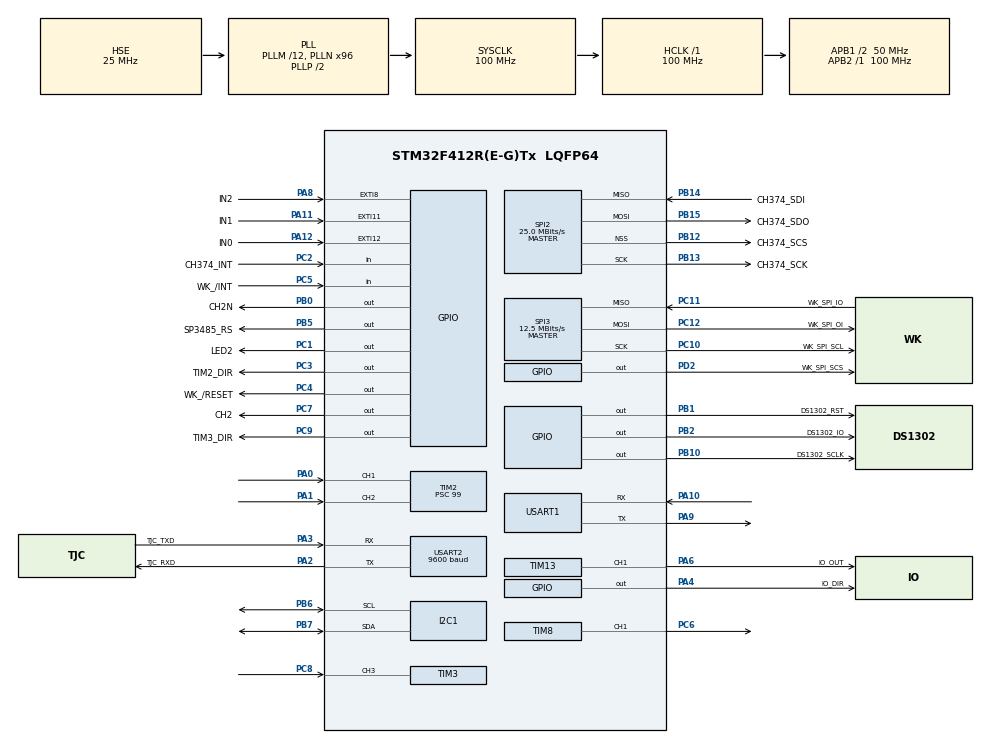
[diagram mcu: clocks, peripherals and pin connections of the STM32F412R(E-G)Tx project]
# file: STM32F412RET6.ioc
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Dma.Request0=USART2_RX
Dma.Request1=USART2_TX
Dma.Request2=USART1_RX
Dma.Request3=USART1_TX
Dma.USART1_RX.2.Direction=DMA_PERIPH_TO_MEMORY
Dma.USART1_RX.2.FIFOMode=DMA_FIFOMODE_DISABLE
Dma.USART1_RX.2.Instance=DMA2_Stream2
Dma.USART1_RX.2.MemDataAlignment=DMA_MDATAALIGN_BYTE
Dma.USART1_RX.2.MemInc=DMA_MINC_ENABLE
Dma.USART1_RX.2.Mode=DMA_NORMAL
Dma.USART1_RX.2.PeriphDataAlignment=DMA_PDATAALIGN_BYTE
Dma.USART1_RX.2.PeriphInc=DMA_PINC_DISABLE
Dma.USART1_RX.2.Priority=DMA_PRIORITY_LOW
Dma.USART1_TX.3.Direction=DMA_MEMORY_TO_PERIPH
Dma.USART1_TX.3.FIFOMode=DMA_FIFOMODE_DISABLE
Dma.USART1_TX.3.Instance=DMA2_Stream7
Dma.USART1_TX.3.MemDataAlignment=DMA_MDATAALIGN_BYTE
Dma.USART1_TX.3.MemInc=DMA_MINC_ENABLE
Dma.USART1_TX.3.Mode=DMA_NORMAL
Dma.USART1_TX.3.PeriphDataAlignment=DMA_PDATAALIGN_BYTE
Dma.USART1_TX.3.PeriphInc=DMA_PINC_DISABLE
Dma.USART1_TX.3.Priority=DMA_PRIORITY_LOW
Dma.USART2_RX.0.Direction=DMA_PERIPH_TO_MEMORY
Dma.USART2_RX.0.FIFOMode=DMA_FIFOMODE_DISABLE
Dma.USART2_RX.0.Instance=DMA1_Stream5
Dma.USART2_RX.0.MemDataAlignment=DMA_MDATAALIGN_BYTE
Dma.USART2_RX.0.MemInc=DMA_MINC_ENABLE
Dma.USART2_RX.0.Mode=DMA_NORMAL
Dma.USART2_RX.0.PeriphDataAlignment=DMA_PDATAALIGN_BYTE
Dma.USART2_RX.0.PeriphInc=DMA_PINC_DISABLE
Dma.USART2_RX.0.Priority=DMA_PRIORITY_LOW
Dma.USART2_TX.1.Direction=DMA_MEMORY_TO_PERIPH
Dma.USART2_TX.1.FIFOMode=DMA_FIFOMODE_DISABLE
Dma.USART2_TX.1.Instance=DMA1_Stream6
Dma.USART2_TX.1.MemDataAlignment=DMA_MDATAALIGN_BYTE
Dma.USART2_TX.1.MemInc=DMA_MINC_ENABLE
Dma.USART2_TX.1.Mode=DMA_NORMAL
Dma.USART2_TX.1.PeriphDataAlignment=DMA_PDATAALIGN_BYTE
Dma.USART2_TX.1.PeriphInc=DMA_PINC_DISABLE
Dma.USART2_TX.1.Priority=DMA_PRIORITY_LOW
FREERTOS.Queues01=myQueue01,5,uint8_t,0,Dynamic,NULL,NULL
FREERTOS.Tasks01=defaultTask,24,128,StartDefaultTask,Default,NULL,Dynamic,NULL,NULL;myTask01,8,128,StartTask01,Default,NULL,Dynamic,NULL,NULL
FREERTOS.configMAX_TASK_NAME_LEN=32
I2C1.I2C_Mode=I2C_Fast
Mcu.Family=STM32F4
Mcu.Name=STM32F412R(E-G)Tx
Mcu.Package=LQFP64
NVIC.DMA1_Stream5_IRQn=true\:5\:0\:false\:false\:true\:true\:false\:true\:true
NVIC.DMA1_Stream6_IRQn=true\:5\:0\:false\:false\:true\:true\:false\:true\:true
NVIC.DMA2_Stream2_IRQn=true\:5\:0\:false\:false\:true\:true\:false\:true\:true
NVIC.DMA2_Stream7_IRQn=true\:5\:0\:false\:false\:true\:true\:false\:true\:true
NVIC.EXTI15_10_IRQn=true\:5\:0\:false\:false\:true\:true\:true\:true\:true
NVIC.EXTI9_5_IRQn=true\:5\:0\:false\:false\:true\:true\:true\:true\:true
NVIC.I2C1_ER_IRQn=true\:5\:0\:false\:false\:true\:true\:true\:true\:true
NVIC.I2C1_EV_IRQn=true\:5\:0\:false\:false\:true\:true\:true\:true\:true
NVIC.PriorityGroup=NVIC_PRIORITYGROUP_4
NVIC.SPI3_IRQn=true\:5\:0\:false\:false\:true\:true\:true\:true\:true
NVIC.TIM1_UP_TIM10_IRQn=true\:15\:0\:false\:false\:true\:false\:false\:true\:true
NVIC.TIM2_IRQn=true\:5\:0\:true\:false\:true\:true\:true\:true\:true
NVIC.TIM3_IRQn=true\:6\:0\:true\:false\:true\:true\:true\:true\:true
NVIC.TIM8_BRK_TIM12_IRQn=true\:5\:0\:false\:false\:true\:true\:true\:true\:true
NVIC.TIM8_CC_IRQn=true\:5\:0\:false\:false\:true\:true\:true\:true\:true
NVIC.TIM8_TRG_COM_TIM14_IRQn=true\:5\:0\:false\:false\:true\:true\:true\:true\:true
NVIC.TIM8_UP_TIM13_IRQn=true\:5\:0\:false\:false\:true\:true\:true\:true\:true
NVIC.TimeBase=TIM1_UP_TIM10_IRQn
NVIC.TimeBaseIP=TIM1
NVIC.USART1_IRQn=true\:5\:0\:false\:false\:true\:true\:true\:true\:true
NVIC.USART2_IRQn=true\:5\:0\:false\:false\:true\:true\:true\:true\:true
PA0.GPIO_PuPd=GPIO_PULLUP
PA0.Signal=S_TIM2_CH1_ETR
PA1.GPIO_PuPd=GPIO_PULLUP
PA1.Signal=S_TIM2_CH2
PA10.Mode=Asynchronous
PA10.Signal=USART1_RX
PA11.GPIO_Label=IN1
PA11.Signal=GPXTI11
PA12.GPIO_Label=IN0
PA12.Signal=GPXTI12
PA13.GPIO_Label=TMS
PA13.Mode=JTAG_5_pins
PA13.Signal=SYS_JTMS-SWDIO
PA14.GPIO_Label=TCK
PA14.Mode=JTAG_5_pins
PA14.Signal=SYS_JTCK-SWCLK
PA15.GPIO_Label=TDI
PA15.Mode=JTAG_5_pins
PA15.Signal=SYS_JTDI
PA2.GPIO_Label=TJC_RXD
PA2.Mode=Asynchronous
PA2.Signal=USART2_TX
PA3.GPIO_Label=TJC_TXD
PA3.Mode=Asynchronous
PA3.Signal=USART2_RX
PA4.GPIO_Label=IO_DIR
PA4.Signal=GPIO_Output
PA6.GPIO_Label=IO_OUT
PA6.GPIO_PuPd=GPIO_NOPULL
PA6.Signal=S_TIM13_CH1
PA8.GPIO_Label=IN2
PA8.GPIO_ModeDefaultEXTI=GPIO_MODE_IT_RISING
PA8.Signal=GPXTI8
PA9.Mode=Asynchronous
PA9.Signal=USART1_TX
PB0.GPIO_Label=CH2N
PB0.Signal=GPIO_Output
PB1.GPIO_Label=DS1302_RST
PB1.Signal=GPIO_Output
PB10.GPIO_Label=DS1302_SCLK
PB10.GPIO_PuPd=GPIO_PULLUP
PB10.Signal=GPIO_Output
PB12.GPIO_Label=CH374_SCS
PB12.Mode=NSS_Signal_Hard_Output
PB12.Signal=SPI2_NSS
PB13.GPIO_Label=CH374_SCK
PB13.Mode=Full_Duplex_Master
PB13.Signal=SPI2_SCK
PB14.GPIO_Label=CH374_SDI
PB14.Mode=Full_Duplex_Master
PB14.Signal=SPI2_MISO
PB15.GPIO_Label=CH374_SDO
PB15.Mode=Full_Duplex_Master
PB15.Signal=SPI2_MOSI
PB2.GPIO_Label=DS1302_IO
PB2.Signal=GPIO_Output
PB3.GPIO_Label=TDO
PB3.Mode=JTAG_5_pins
PB3.Signal=SYS_JTDO-SWO
PB4.GPIO_Label=NTRST
PB4.Mode=JTAG_5_pins
PB4.Signal=SYS_JTRST
PB5.GPIO_Label=SP3485_RS
PB5.Signal=GPIO_Output
PB6.Mode=I2C
PB6.Signal=I2C1_SCL
PB7.Mode=I2C
PB7.Signal=I2C1_SDA
PC1.GPIO_Label=LED2
PC1.GPIO_PuPd=GPIO_PULLUP
PC1.Signal=GPIO_Output
PC10.GPIO_Label=WK_SPI_SCL
PC10.Mode=Full_Duplex_Master
PC10.Signal=SPI3_SCK
PC11.GPIO_Label=WK_SPI_IO
PC11.Mode=Full_Duplex_Master
PC11.Signal=SPI3_MISO
PC12.GPIO_Label=WK_SPI_OI
PC12.Mode=Full_Duplex_Master
PC12.Signal=SPI3_MOSI
PC2.GPIO_Label=CH374_INT
PC2.Signal=GPIO_Input
PC3.GPIO_Label=TIM2_DIR
PC3.Signal=GPIO_Output
PC4.GPIO_Label=WK_/RESET
PC4.Signal=GPIO_Output
PC5.GPIO_Label=WK_/INT
PC5.Signal=GPIO_Input
PC6.Signal=S_TIM8_CH1
PC7.GPIO_Label=CH2
PC7.Signal=GPIO_Output
PC8.Signal=S_TIM3_CH3
PC9.GPIO_Label=TIM3_DIR
PC9.Signal=GPIO_Output
PD2.GPIO_Label=WK_SPI_SCS
PD2.GPIO_PuPd=GPIO_PULLUP
PD2.Signal=GPIO_Output
PH0\ -\ OSC_IN.Mode=HSE-External-Oscillator
PH0\ -\ OSC_IN.Signal=RCC_OSC_IN
PH1\ -\ OSC_OUT.Mode=HSE-External-Oscillator
PH1\ -\ OSC_OUT.Signal=RCC_OSC_OUT
ProjectManager.HeapSize=0x200
ProjectManager.StackSize=0x400
ProjectManager.TargetToolchain=MDK-ARM V5.32
RCC.AHBFreq_Value=100000000
RCC.APB1CLKDivider=RCC_HCLK_DIV2
RCC.APB1Freq_Value=50000000
RCC.APB1TimFreq_Value=100000000
RCC.APB2Freq_Value=100000000
RCC.APB2TimFreq_Value=100000000
RCC.CortexFreq_Value=100000000
RCC.HCLKFreq_Value=100000000
RCC.PLLM=12
RCC.PLLN=96
RCC.PLLSourceVirtual=RCC_PLLSOURCE_HSE
RCC.SYSCLKFreq_VALUE=100000000
RCC.SYSCLKSource=RCC_SYSCLKSOURCE_PLLCLK
RCC.USBFreq_Value=100000000
RCC.VCOOutputFreq_Value=200000000
SH.S_TIM13_CH1.0=TIM13_CH1,PWM Generation1 CH1
SH.S_TIM2_CH1_ETR.0=TIM2_CH1,Encoder_Interface
SH.S_TIM2_CH2.0=TIM2_CH2,Encoder_Interface
SH.S_TIM3_CH3.0=TIM3_CH3,Input_Capture3_from_TI3
SH.S_TIM8_CH1.0=TIM8_CH1,PWM Generation1 CH1
SPI2.CalculateBaudRate=25.0 MBits/s
SPI2.Direction=SPI_DIRECTION_2LINES
SPI2.Mode=SPI_MODE_MASTER
SPI2.VirtualNSS=VM_NSSHARD
SPI2.VirtualType=VM_MASTER
SPI3.BaudRatePrescaler=SPI_BAUDRATEPRESCALER_4
SPI3.CLKPhase=SPI_PHASE_2EDGE
SPI3.CLKPolarity=SPI_POLARITY_HIGH
SPI3.CalculateBaudRate=12.5 MBits/s
SPI3.Direction=SPI_DIRECTION_2LINES
SPI3.Mode=SPI_MODE_MASTER
SPI3.VirtualType=VM_MASTER
TIM13.AutoReloadPreload=TIM_AUTORELOAD_PRELOAD_DISABLE
TIM13.Channel=TIM_CHANNEL_1
TIM13.Period=1000-1
TIM13.Prescaler=100-1
TIM13.Pulse=500
TIM2.EncoderMode=TIM_ENCODERMODE_TI12
TIM2.IC1Filter=6
TIM2.IC2Filter=6
TIM2.Period=20000-1
TIM2.Prescaler=99
TIM3.AutoReloadPreload=TIM_AUTORELOAD_PRELOAD_ENABLE
TIM3.Channel-Input_Capture3_from_TI3=TIM_CHANNEL_3
TIM3.Period=20000-1
TIM3.Prescaler=999
TIM8.AutoReloadPreload=TIM_AUTORELOAD_PRELOAD_DISABLE
TIM8.Channel-PWM\ Generation1\ CH1=TIM_CHANNEL_1
TIM8.Period=1000
TIM8.Prescaler=100-1
TIM8.Pulse-PWM\ Generation1\ CH1=500
USART1.VirtualMode=VM_ASYNC
USART2.BaudRate=9600
USART2.VirtualMode=VM_ASYNC
VP_FREERTOS_VS_CMSIS_V2.Mode=CMSIS_V2
VP_SYS_VS_tim1.Mode=TIM1
VP_TIM13_VS_ClockSourceINT.Mode=Enable_Timer
VP_TIM3_VS_ClockSourceINT.Mode=Internal
board=custom

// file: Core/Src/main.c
/* USER CODE BEGIN Header */
/**
  ******************************************************************************
  * @file           : main.c
  * @brief          : Main program body
  ******************************************************************************
  * @attention
  *
  * Copyright (c) 2024 STMicroelectronics.
  * All rights reserved.
  *
  * This software is licensed under terms that can be found in the LICENSE file
  * in the root directory of this software component.
  * If no LICENSE file comes with this software, it is provided AS-IS.
  *
  ******************************************************************************
  */
/* USER CODE END Header */
#include "main.h"
#include "cmsis_os.h"
#include "dma.h"
#include "i2c.h"
#include "spi.h"
#include "tim.h"
#include "usart.h"
#include "gpio.h"

void SystemClock_Config(void);
void MX_FREERTOS_Init(void);

int main(void)
{

  /* MCU Configuration--------------------------------------------------------*/

  /* Reset of all peripherals, Initializes the Flash interface and the Systick. */
  HAL_Init();

  /* Configure the system clock */
  SystemClock_Config();

  /* Initialize all configured peripherals */
  MX_GPIO_Init();
  MX_DMA_Init();
  MX_TIM2_Init();
  MX_USART2_UART_Init();
  MX_USART1_UART_Init();
  MX_I2C1_Init();
  MX_SPI2_Init();
  MX_SPI3_Init();
  MX_TIM3_Init();
  MX_TIM8_Init();
  MX_TIM13_Init();

  /* Init scheduler */
  osKernelInitialize();  /* Call init function for freertos objects (in freertos.c) */
  MX_FREERTOS_Init();

  /* Start scheduler */
  osKernelStart();

  /* We should never get here as control is now taken by the scheduler */
  /* Infinite loop */
  while (1)
  {

  }
}

void SystemClock_Config(void)
{
  RCC_OscInitTypeDef RCC_OscInitStruct = {0};
  RCC_ClkInitTypeDef RCC_ClkInitStruct = {0};

  /** Configure the main internal regulator output voltage
  */
  __HAL_RCC_PWR_CLK_ENABLE();
  __HAL_PWR_VOLTAGESCALING_CONFIG(PWR_REGULATOR_VOLTAGE_SCALE1);

  /** Initializes the RCC Oscillators according to the specified parameters
  * in the RCC_OscInitTypeDef structure.
  */
  RCC_OscInitStruct.OscillatorType = RCC_OSCILLATORTYPE_HSE;
  RCC_OscInitStruct.HSEState = RCC_HSE_ON;
  RCC_OscInitStruct.PLL.PLLState = RCC_PLL_ON;
  RCC_OscInitStruct.PLL.PLLSource = RCC_PLLSOURCE_HSE;
  RCC_OscInitStruct.PLL.PLLM = 12;
  RCC_OscInitStruct.PLL.PLLN = 96;
  RCC_OscInitStruct.PLL.PLLP = RCC_PLLP_DIV2;
  RCC_OscInitStruct.PLL.PLLQ = 2;
  RCC_OscInitStruct.PLL.PLLR = 2;
  if (HAL_RCC_OscConfig(&RCC_OscInitStruct) != HAL_OK)
  {
    Error_Handler();
  }

  /** Initializes the CPU, AHB and APB buses clocks
  */
  RCC_ClkInitStruct.ClockType = RCC_CLOCKTYPE_HCLK|RCC_CLOCKTYPE_SYSCLK
                              |RCC_CLOCKTYPE_PCLK1|RCC_CLOCKTYPE_PCLK2;
  RCC_ClkInitStruct.SYSCLKSource = RCC_SYSCLKSOURCE_PLLCLK;
  RCC_ClkInitStruct.AHBCLKDivider = RCC_SYSCLK_DIV1;
  RCC_ClkInitStruct.APB1CLKDivider = RCC_HCLK_DIV2;
  RCC_ClkInitStruct.APB2CLKDivider = RCC_HCLK_DIV1;

  if (HAL_RCC_ClockConfig(&RCC_ClkInitStruct, FLASH_LATENCY_3) != HAL_OK)
  {
    Error_Handler();
  }
}

/* USER CODE BEGIN 4 */
void HAL_GPIO_EXTI_Callback(uint16_t GPIO_Pin)//GPIO中断回调函数
{
	if(GPIO_Pin==IN0_Pin)
	{
		Position=0.0;
	__HAL_TIM_SET_COUNTER(&htim2, 10000);//校验位置
	__HAL_GPIO_EXTI_CLEAR_IT(IN0_Pin);//清除中断标志位
	}
	else if(GPIO_Pin==IN1_Pin)
	{
		Position=Track_Length/2;
	__HAL_TIM_SET_COUNTER(&htim2, 10000);//校验位置
	__HAL_GPIO_EXTI_CLEAR_IT(IN1_Pin);//清除中断标志位
	}
	else if(GPIO_Pin==IN2_Pin)
	{
		Position=Track_Length;
	__HAL_TIM_SET_COUNTER(&htim2, 10000);//校验位置
	__HAL_GPIO_EXTI_CLEAR_IT(IN2_Pin);//清除中断标志位
	}

}

float speed_Record[SPEED_RECORD_NUM]={0};

/*
 * 进行速度的平均滤波
 * 输入新采样到的速度，存放速度的数组，
 * 返回滤波后的速度
 */
float Speed_Low_Filter(float new_Spe,float *speed_Record)
{
    float sum = 0.0f;
    float test_Speed;
    for(uint8_t i=SPEED_RECORD_NUM-1;i>0;i--)//将现有数据后移一位
    {
        speed_Record[i] = speed_Record[i-1];
        sum += speed_Record[i-1];
    }
    speed_Record[0] = new_Spe;//第一位是新的数据
    sum += new_Spe;
    test_Speed = sum/SPEED_RECORD_NUM;
    return test_Speed;//返回均值
}

/* USER CODE END 4 */

void HAL_TIM_PeriodElapsedCallback(TIM_HandleTypeDef *htim)
{
  if (htim->Instance == TIM1) {
    HAL_IncTick();
  }
  /* USER CODE BEGIN Callback 1 */
	else if(htim->Instance==TIM3)//间隔定时器中断，是时候计算速度了（100ms处理一次）
	{
		motor1.direct = __HAL_TIM_IS_TIM_COUNTING_DOWN(&htim2);//如果向上计数（正转），返回值为0，否则返回值为1
		motor1.totalCount = COUNTERNUM+ motor1.overflowNum * RELOADVALUE;//一个周期内的总计数值等于目前计数值加上溢出的计数值

		if(motor1.lastCount - motor1.totalCount > 19000) // 在计数值溢出时进行防溢出处理
		{
				motor1.overflowNum++;
				motor1.totalCount = COUNTERNUM + motor1.overflowNum * RELOADVALUE;//一个周期内的总计数值等于目前计数值加上溢出的计数值
		}
		else if(motor1.totalCount - motor1.lastCount > 19000) // 在计数值溢出时进行防溢出处理
		{
				motor1.overflowNum--;
				motor1.totalCount = COUNTERNUM + motor1.overflowNum * RELOADVALUE;//一个周期内的总计数值等于目前计数值加上溢出的计数值
		}
		motor1.speed = (float)(motor1.totalCount - motor1.lastCount) / (4 * MOTOR_SPEED_RERATIO * PULSE_PRE_ROUND);//算得转了多少圈,除以4是因为4倍频
		motor1.speed = Speed_Low_Filter(motor1.speed,speed_Record);//滤波函数
		motor1.lastCount = motor1.totalCount; //记录这一次的计数值
		motor1.distance = One_Circle_Distance * motor1.speed;//计算移动距离
		if(motor1.direct==1)//反转
		{
			Position = Position - motor1.distance;	//距零点距离
		}
		else//正转
		{
			Position = Position + motor1.distance;	//距零点距离
		}
	}
	else if(htim->Instance==TIM8)//PWM输出
	{
		if(htim->Channel == HAL_TIM_ACTIVE_CHANNEL_1)//判断是否为定时器 通道1
		{
//			__HAL_TIM_SetCompare(&htim8,TIM_CHANNEL_1,pwmVal_TIM8);//修改占空比大小
//			HAL_TIM_PWM_Start_IT(&htim8,TIM_CHANNEL_1);//启动TIM8_CH1的PWM波输出（中断）
		}
	}
	else if(htim->Instance==TIM13)//PWM输出
	{
		if(htim->Channel == HAL_TIM_ACTIVE_CHANNEL_1)//判断是否为定时器 通道1
		{

//		HAL_TIM_PWM_Start_IT(&htim13,TIM_CHANNEL_1);//启动TIM13_CH1的PWM波输出（中断）
		}
	}
  /* USER CODE END Callback 1 */
}

void Error_Handler(void)
{
  __disable_irq();
  while (1)
  {
  }
}

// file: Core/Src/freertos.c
/* USER CODE BEGIN Header */
/**
  ******************************************************************************
  * File Name          : freertos.c
  * Description        : Code for freertos applications
  ******************************************************************************
  * @attention
  *
  * Copyright (c) 2024 STMicroelectronics.
  * All rights reserved.
  *
  * This software is licensed under terms that can be found in the LICENSE file
  * in the root directory of this software component.
  * If no LICENSE file comes with this software, it is provided AS-IS.
  *
  ******************************************************************************
  */
/* USER CODE END Header */

#include "FreeRTOS.h"
#include "task.h"
#include "main.h"
#include "cmsis_os.h"

/* USER CODE BEGIN PTD */
Motor motor1;
float Position;//距0点位置,单位mm
/* USER CODE END PTD */

/* Definitions for defaultTask */
osThreadId_t defaultTaskHandle;
const osThreadAttr_t defaultTask_attributes = {
  .name = "defaultTask",
  .stack_size = 128 * 4,
  .priority = (osPriority_t) osPriorityNormal,
};
/* Definitions for myTask01 */
osThreadId_t myTask01Handle;
const osThreadAttr_t myTask01_attributes = {
  .name = "myTask01",
  .stack_size = 128 * 4,
  .priority = (osPriority_t) osPriorityLow,
};
/* Definitions for myQueue01 */
osMessageQueueId_t myQueue01Handle;
const osMessageQueueAttr_t myQueue01_attributes = {
  .name = "myQueue01"
};

/* USER CODE BEGIN FunctionPrototypes */
osThreadId_t EthernetTaskHandle;
const osThreadAttr_t EthernetTask_attributes = {
  .name = "EthernetTask",
  .stack_size = 256 * 4,
  .priority = (osPriority_t) osPriorityLow,
};

osThreadId_t EncoderTaskHandle;
const osThreadAttr_t EncoderTask_attributes = {
  .name = "EncoderTask",
  .stack_size = 128 * 4,
  .priority = (osPriority_t) osPriorityLow,
};

osThreadId_t DriveTaskHandle;
const osThreadAttr_t DriveTask_attributes = {
  .name = "DriveTask",
  .stack_size = 128 * 4,
  .priority = (osPriority_t) osPriorityLow,
};

osThreadId_t Pulse_EmissionTaskHandle;
const osThreadAttr_t Pulse_EmissionTask_attributes = {
  .name = "Pulse_EmissionTask",
  .stack_size = 128 * 4,
  .priority = (osPriority_t) osPriorityLow,
};

osThreadId_t ScreenTaskHandle;
const osThreadAttr_t ScreenTask_attributes = {
  .name = "ScreenTask",
  .stack_size = 128 * 4,
  .priority = (osPriority_t) osPriorityLow,
};

void Ethernet(void *argument);//网络通信
void Encoder(void *argument);//电动机编码器通讯
void Drive(void *argument);//控制驱动器
void Pulse_Emission(void *argument);//脉冲发射
void Screen(void *argument);//屏幕通信
/* USER CODE END FunctionPrototypes */

void StartDefaultTask(void *argument);
void StartTask01(void *argument);

void MX_FREERTOS_Init(void); /* (MISRA C 2004 rule 8.1) */

void MX_FREERTOS_Init(void) {

  /* Create the queue(s) */
  /* creation of myQueue01 */
  myQueue01Handle = osMessageQueueNew (5, sizeof(uint8_t), &myQueue01_attributes);

  /* Create the thread(s) */
  /* creation of defaultTask */
  defaultTaskHandle = osThreadNew(StartDefaultTask, NULL, &defaultTask_attributes);

  /* creation of myTask01 */
  myTask01Handle = osThreadNew(StartTask01, NULL, &myTask01_attributes);

  /* USER CODE BEGIN RTOS_THREADS */
	EthernetTaskHandle = osThreadNew(Ethernet, NULL, &EthernetTask_attributes);
	EncoderTaskHandle = osThreadNew(Encoder, NULL, &EncoderTask_attributes);
	DriveTaskHandle = osThreadNew(Drive, NULL, &DriveTask_attributes);
	Pulse_EmissionTaskHandle = osThreadNew(Pulse_Emission, NULL, &Pulse_EmissionTask_attributes);
	ScreenTaskHandle = osThreadNew(Screen, NULL, &ScreenTask_attributes);
  /* add threads, ... */
  /* USER CODE END RTOS_THREADS */

}

void StartDefaultTask(void *argument)
{
  for(;;)
  {
    osDelay(1);
  }
}

void StartTask01(void *argument)
{
  for(;;)
  {
    osDelay(1);
  }
}

/* USER CODE BEGIN Application */
wiz_NetInfo gWIZNETINFO = {
  .mac = { 0x80, 0x80, 0x80,0x80,0x80,0x80 },//MSB - LSB
  .ip  = { 192, 168, 1, 10 },
  .sn  = { 255, 255, 255, 0 },
  .gw  = { 192, 168, 1, 1 },//网关参数
  .dns  = { 8, 8, 8, 8 },
  .dhcp = NETINFO_STATIC };

void Ethernet(void *argument)//W5500通讯
{
	printf("A simple Ping Application using W5500!\r\n");
  W5500Init();//w5500初始化
  ctlnetwork(CN_SET_NETINFO, (void*)&gWIZNETINFO);  //配置网络参数
  wiz_PhyConf phyconf;
  phyconf.by = PHY_CONFBY_SW;
  phyconf.duplex = PHY_DUPLEX_FULL;
  phyconf.speed = PHY_SPEED_10;
  phyconf.mode = PHY_MODE_AUTONEGO;
  ctlwizchip(CW_SET_PHYCONF, (void*)&phyconf); //配置PHY参数
  PHYStatusCheck();//检查网络连接参数
  PrintPHYConf();//打印PHY配置信息
  printf("Simple Ping Application\r\n");
  for(;;)
  {
    osDelay(500);
		HAL_GPIO_TogglePin(GPIOC, LED2_Pin);
  }

}

void Encoder(void *argument)//电动机编码器通讯
{
	HAL_TIM_Encoder_Start(&htim2, TIM_CHANNEL_ALL);      //开启编码器定时器
	__HAL_TIM_ENABLE_IT(&htim2,TIM_IT_UPDATE);          //开启编码器定时器更新中断,防溢出处理
	HAL_TIM_Base_Start_IT(&htim3);                    //开启100ms定时器中断
	__HAL_TIM_SET_COUNTER(&htim2, 10000);               //编码器定时器初始值设定为10000
	motor1.lastCount = 0;                               //结构体内容初始化
	motor1.totalCount = 0;
	motor1.overflowNum = 0;
	motor1.speed = 0;
	motor1.direct = 0;
	motor1.distance = 0;
  for(;;)
  {
    osDelay(1);
  }

}

uint16_t pwmVal_TIM8 = 0;  //占空比大小(CCRx的大小，高电平时间)
uint8_t Position_flag=0;//位置标志位

void Drive(void *argument)//控制驱动器
{
	HAL_TIM_Base_Start_IT(&htim8);//开启TIM8定时器中断
	HAL_TIM_PWM_Start_IT(&htim8,TIM_CHANNEL_1);//启动TIM8_CH1的PWM波输出（中断）
  for(;;)
  {

//		__HAL_TIM_SetCompare(&htim8,TIM_CHANNEL_1,pwmVal_TIM8);//修改占空比大小
//		HAL_GPIO_WritePin(GPIOB,GPIO_PIN_0,GPIO_PIN_SET);//控制电机驱动控制电机正反装
//		HAL_GPIO_WritePin(GPIOC,GPIO_PIN_7,GPIO_PIN_SET);//控制电机驱动控制电机启停
    osDelay(1);
  }
}

uint16_t pwmVal_TIM13 = 0;  //占空比大小(CCRx的大小，高电平时间)
void Pulse_Emission(void *argument)//脉冲发射（TIM13_CH1通道）
{
	HAL_GPIO_WritePin(GPIOA, GPIO_PIN_4, GPIO_PIN_SET);//配置DIR引脚高电平，电平转换器A->B
	HAL_TIM_Base_Start_IT(&htim13);//开启TIM13定时器中断
	HAL_TIM_PWM_Start_IT(&htim13,TIM_CHANNEL_1);//启动TIM13_CH1的PWM波输出（中断）
  for(;;)
  {
//		__HAL_TIM_SetCompare(&htim13,TIM_CHANNEL_1,pwmVal_TIM13);//修改占空比大小
    osDelay(1);
  }
}

uint8_t Sports_mode=0;//运动模式

void Screen(void *argument)//屏幕通信
{
//	initRingBuff();																//初始化环形缓存区
//	HAL_UART_Receive_IT(&huart2,RxBuff,1);				//打开串口接收中断
	TJCPrintf("0x00");         							  		//为确保串口HMI正常通信
  for(;;)
  {
    osDelay(1);
//		while(usize >= FRAMELENGTH)//串口缓存区数量大于6
//	  {
//		  //校验帧头帧尾是否匹配
//		  if(u(0) != 0x55 || u(6) != 0xff || u(7) != 0xff || u(8) != 0xff)
//		  {
//			  //不匹配删除1字节
//			  udelete(1);
//		  }else
//		  {
//			  //匹配，跳出循环
//			  break;
//		  }
//	  }
//	  //进行解析
//	  if(usize >= FRAMELENGTH && u(0) == 0x55 && u(6) == 0xff && u(7) == 0xff && u(8) == 0xff)
//	  {
//		  udelete(FRAMELENGTH);//删除串口缓冲区中相应长度的数据
//	  }
//		TJCPrintf("set.t3.txt=\"%d\"",Position);	//显示位移距离
//		TJCPrintf("set.j0.val=%d",Position/Track_Length);	//显示进度条距离
//		TJCPrintf("set.t1.txt=\"%d\"",motor1.direct);	//显示运动方向
//		TJCPrintf("set.t4.txt=\"%d\"",motor1.speed*10);	//显示速度
//		TJCPrintf("set.t4.txt=\"%d\"",Sports_mode);	//显示运动模式

  }
}
/* USER CODE END Application */
